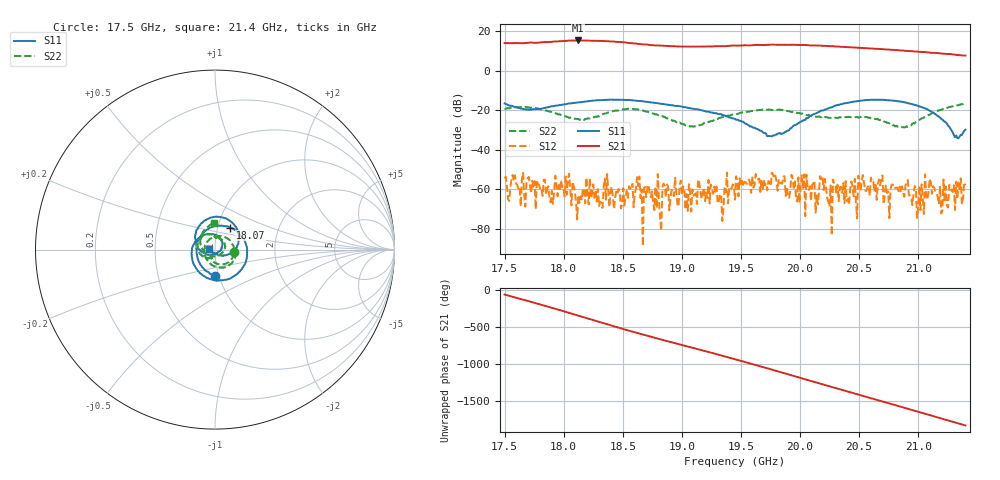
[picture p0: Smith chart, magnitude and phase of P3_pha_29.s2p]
!Created with skrf (http://scikit-rf.org).
# GHz S RI R 50.0
!freq ReS11 ImS11 ReS21 ImS21 ReS12 ImS12 ReS22 ImS22
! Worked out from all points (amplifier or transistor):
!   401 points, 17.5 GHz to 21.4 GHz, reference 50 ohm
!   highest |S21| = 15.3 dB at 18.12 GHz (marker M1)
!   |S21| within 3 dB of that: start of sweep to 18.94 GHz (the widest 1 of 2)
!   unconditionally stable (mu >= 1): start of sweep to end of sweep
!   at 18.14 GHz: K = 126.86, MAG = 15.5 dB, |S12| = -63.7 dB
!   at 19.45 GHz: K = 211.09, MAG = 12.8 dB, |S12| = -65.3 dB
!   at 21.4 GHz: K = 160.82, MAG = 7.7 dB, |S12| = -58.0 dB
!   S11 on the Smith chart (normalised r, x): 17.5 GHz: 0.95, -0.29; 18.07 GHz: 1.15, +0.29; 21.4 GHz: 0.94, +0.01
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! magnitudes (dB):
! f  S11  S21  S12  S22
! 17.5 GHz  -16.6  14.0  -54.5  -19.4
! 17.9 GHz  -18.0  14.7  -60.9  -21.0
! 18.07 GHz  -16.5  15.2  -68.3  -23.9
! 18.12 GHz  -16.1  15.3  -63.0  -24.4
! 18.15 GHz  -15.9  15.3  -65.6  -24.3
! 18.5 GHz  -14.8  14.5  -59.5  -19.6
! 18.62 GHz  -15.2  13.7  -53.9  -19.6
! 18.81 GHz  -16.6  12.8  -66.2  -22.5
! 18.86 GHz  -17.0  12.6  -58.3  -23.4
! 19.33 GHz  -22.0  12.5  -62.9  -23.7
! 19.45 GHz  -24.4  12.7  -65.3  -21.9
! 19.74 GHz  -33.1  13.2  -56.3  -19.7
! 20.1 GHz  -22.4  12.8  -57.8  -23.2
! 20.19 GHz  -20.1  12.6  -54.5  -23.1
! 20.25 GHz  -18.8  12.5  -68.8  -23.9
! 20.3 GHz  -17.7  12.3  -57.1  -23.8
! 20.4 GHz  -16.4  12.0  -66.0  -23.4
! 20.51 GHz  -15.2  11.6  -61.2  -23.4
! 20.76 GHz  -15.0  10.7  -74.7  -26.7
! 21.12 GHz  -20.9  9.1  -62.4  -21.5
! 21.19 GHz  -23.7  8.8  -58.8  -19.9
! 21.4 GHz  -29.9  7.6  -58.0  -16.7
